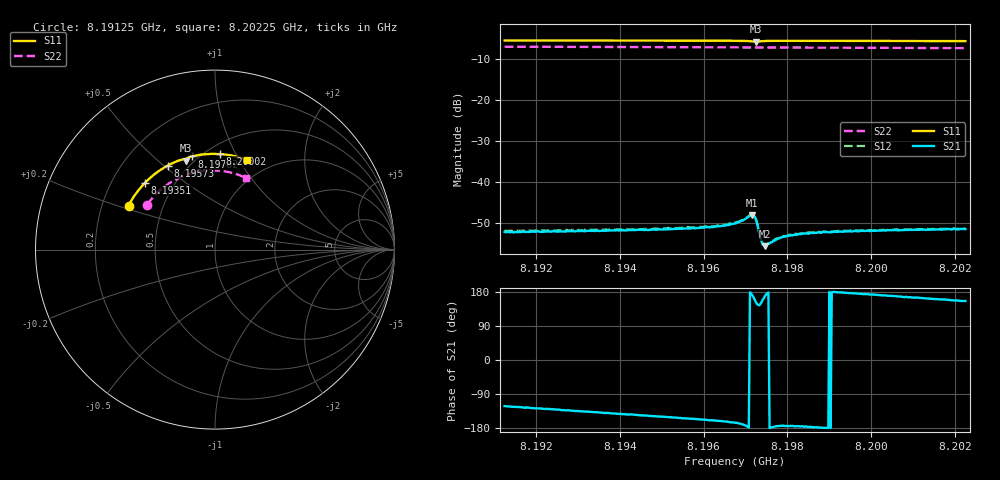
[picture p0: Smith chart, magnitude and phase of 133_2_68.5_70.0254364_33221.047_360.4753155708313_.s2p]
#  HZ  S  RI  R  50.00
! Rohde & Schwarz Vector Network Analyzer
! Rohde-Schwarz,ZNB20-2Port,1311601062101988,3.16
! Created: UTC 3/20/2024, 4:54:33 PM
! freq[Hz]  re:S11  im:S11  re:S21  im:S21  re:S12  im:S12  re:S22  im:S22
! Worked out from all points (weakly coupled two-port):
!   401 points, 8.19125 GHz to 8.20225 GHz, reference 50 ohm
!   highest |S21| = -48.08 dB at 8.19716 GHz (marker M1); lowest = -55.7 dB at 8.19747 GHz (marker M2)
!   lowest |S11| = -5.6 dB at 8.19725 GHz (marker M3), VSWR 3.19, Z = 22.8 + j31.1 ohm
!   |S11| at or under -10 dB: nowhere
!   |S22| runs from -7.2 to -6.9 dB; largest |S21 - S12| = 0.00019
!   S11 on the Smith chart (normalised r, x): 8.19125 GHz: 0.31, +0.22; 8.19351 GHz: 0.34, +0.36; 8.19573 GHz: 0.39, +0.52; 8.19782 GHz: 0.46, +0.67; 8.20002 GHz: 0.58, +0.86; 8.20225 GHz: 0.78, +1.08
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8.191252e9  -0.4814 0.2457  -0.00129 -0.00209  -0.00138 -0.00209  -0.3769 0.2512
8.193094e9  -0.4083 0.3524  -0.0018 -0.00176  -0.0019 -0.00172  -0.3092 0.3277
8.193507e9  -0.3885 0.3737  -0.00188 -0.00168  -0.00206 -0.00161  -0.2919 0.3427
8.194936e9  -0.3116 0.4385  -0.00228 -0.00136  -0.00235 -0.00129  -0.2257 0.3869
8.195734e9  -0.2636 0.4681  -0.00249 -0.00116  -0.00255 -0.00106  -0.1856 0.4065
8.196338e9  -0.2247 0.4873  -0.00272 -0.000948  -0.00281 -0.000887  -0.1539 0.4184
8.196751e9  -0.1961 0.4982  -0.00302 -0.000776  -0.00313 -0.000664  -0.1317 0.4252
8.196888e9  -0.1858 0.5013  -0.00324 -0.000664  -0.00334 -0.000525  -0.1243 0.4273
8.197108e9  -0.1676 0.5024  -0.00385 8.99e-05  -0.00395 0.00023  -0.1121 0.43
8.197163e9  -0.1635 0.5004  -0.00389 0.000621  -0.00393 0.000809  -0.1091 0.4307
8.197218e9  -0.1618 0.4974  -0.00356 0.00133  -0.00356 0.00152  -0.1063 0.4312
8.197246e9  -0.1622 0.4963  -0.00315 0.00158  -0.00317 0.00174  -0.1049 0.4314
8.197383e9  -0.1625 0.5034  -0.00166 0.000879  -0.00165 0.000943  -0.0974 0.4331
8.197411e9  -0.161 0.5054  -0.0016 0.000623  -0.00162 0.00073  -0.0959 0.4334
8.197466e9  -0.1574 0.5085  -0.00161 0.000324  -0.00167 0.00041  -0.0928 0.4341
8.197521e9  -0.1532 0.5109  -0.00172 0.000126  -0.00174 0.000188  -0.0898 0.4346
8.197823e9  -0.1306 0.5189  -0.00206 -0.000223  -0.00211 -0.000122  -0.0729 0.4372
8.19807e9  -0.1129 0.523  -0.00221 -0.00024  -0.00227 -0.000154  -0.0589 0.4389
8.198593e9  -0.0756 0.5293  -0.00237 -0.000119  -0.00242 -1.47e-06  -0.0296 0.441
8.200022e9  0.0258 0.5327  -0.00252 0.000308  -0.00252 0.000446  0.0512 0.4364
8.200435e9  0.0549 0.5299  -0.00253 0.000486  -0.00254 0.000595  0.0742 0.4322
8.202249e9  0.1792 0.4992  -0.00243 0.00109  -0.00239 0.00123  0.1723 0.3996
